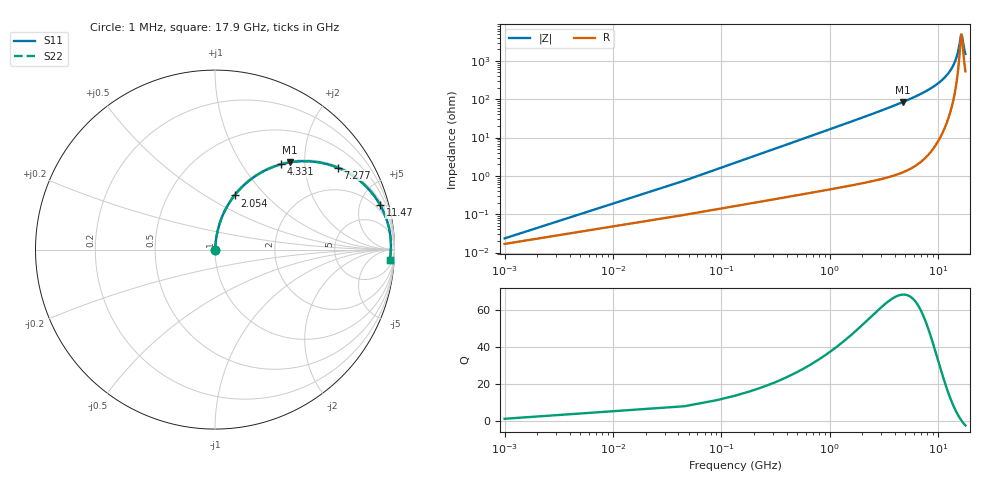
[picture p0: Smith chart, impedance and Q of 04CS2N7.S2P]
! Coilcraft 0402CS-2N7 Chip Inductor
! 22 July 2002
# MHZ S MA R 50
!Freq  MagS11  AngS11  MagS21  AngS21  MagS12  AngS12  MagS22  AngS22
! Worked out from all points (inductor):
!   402 points, 1 MHz to 17.9 GHz, reference 50 ohm
!   read as one part in series: L = 2.6 nH near 90.28 MHz
!   highest Q = 68.1 at 4.733 GHz (marker M1), where L = 2.83 nH
!   self-resonance near 16.47 GHz
!   S11 on the Smith chart (normalised r, x): 1 MHz: 1.00, +0.00; 2.054 GHz: 1.01, +0.68; 4.331 GHz: 1.02, +1.52; 7.277 GHz: 1.05, +2.96; 11.47 GHz: 1.34, +7.28; 17.9 GHz: 12, -28
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1  0.0002343 44.2  0.9998 -0.0  0.9998 -0.0  0.0002343 44.2
134.92  0.02206 84.5  0.9981 -1.3  0.9981 -1.3  0.02206 84.5
224.2  0.03659 84.6  0.9972 -2.1  0.9972 -2.1  0.03659 84.6
358.12  0.05834 84.1  0.9957 -3.3  0.9957 -3.3  0.05834 84.1
625.96  0.1016 82.2  0.9914 -5.8  0.9914 -5.8  0.1016 82.2
983.08  0.1585 79.3  0.9831 -9.1  0.9831 -9.1  0.1585 79.3
1474.12  0.2348 75.1  0.9668 -13.6  0.9668 -13.6  0.2348 75.1
2054.44  0.3209 70.2  0.941 -18.7  0.941 -18.7  0.3209 70.2
2991.88  0.4482 62.4  0.8866 -26.6  0.8866 -26.6  0.4482 62.4
4331.08  0.601 52.2  0.7904 -36.9  0.7904 -36.9  0.601 52.2
4732.84  0.6399 49.4  0.7591 -39.8  0.7591 -39.8  0.6399 49.4
5982.76  0.7422 41.2  0.659 -47.9  0.659 -47.9  0.7422 41.2
7277.32  0.8216 33.8  0.5559 -55.2  0.5559 -55.2  0.8216 33.8
8973.64  0.8935 25.4  0.4283 -63.3  0.4283 -63.3  0.8935 25.4
11473.48  0.9529 15.1  0.2616 -72.1  0.2616 -72.1  0.9529 15.1
11964.52  0.9599 13.4  0.232 -73.4  0.232 -73.4  0.9599 13.4
13705.48  0.9757 7.7  0.1346 -75.8  0.1346 -75.8  0.9757 7.7
14955.4  0.9802 4.0  0.07234 -72.1  0.07234 -72.1  0.9802 4.0
16428.52  0.98 0.1  0.02004 -5.1  0.02004 -5.1  0.98 0.1
16651.72  0.9796 -0.5  0.02189 21.0  0.02189 21.0  0.9796 -0.5
17365.96  0.9775 -2.2  0.04416 58.3  0.04416 58.3  0.9775 -2.2
17900  0.9753 -3.5  0.06446 65.8  0.06446 65.8  0.9753 -3.5
